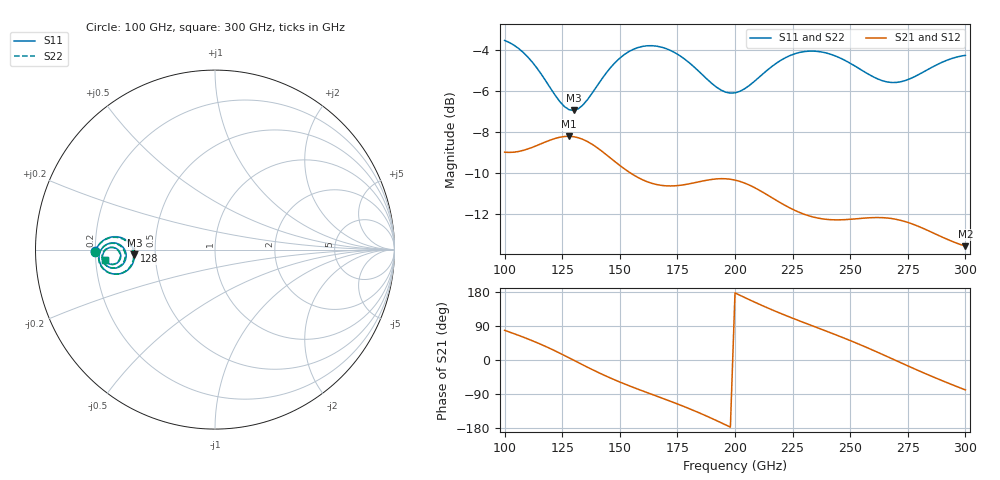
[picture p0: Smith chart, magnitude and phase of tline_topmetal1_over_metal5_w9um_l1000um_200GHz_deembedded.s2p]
! Created with skrf 2.2.0 (http://scikit-rf.org).
# GHz S DB R 50.0
! Port[1] = P1
! Port[2] = P2
!freq dBS11 angS11 dBS21 angS21 dBS12 angS12 dBS22 angS22
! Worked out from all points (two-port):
!   101 points, 100 GHz to 300 GHz, reference 50 ohm
!   highest |S21| = -8.21 dB at 128 GHz (marker M1); lowest = -13.6 dB at 300 GHz (marker M2)
!   |S21| within 3 dB of the highest: start of sweep to 215.9 GHz
!   lowest |S11| = -6.9 dB at 130 GHz (marker M3), VSWR 2.63, Z = 19 - j1.53 ohm
!   |S11| at or under -10 dB: nowhere
!   |S22| runs from -6.9 to -3.5 dB; largest |S21 - S12| = 2.4e-16
!   S11 on the Smith chart (normalised r, x): 100 GHz: 0.20, -0.01; 128 GHz: 0.38, -0.01; 300 GHz: 0.24, -0.04
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100  -3.51 -179.1  -8.99 78.4  -8.99 78.4  -3.49 -178.9
114  -4.86 172.8  -8.66 45.8  -8.66 45.8  -4.82 173.1
120  -5.87 173.3  -8.39 29.6  -8.39 29.6  -5.81 173.6
128  -6.91 -178.8  -8.21 5.7  -8.21 5.7  -6.82 -178.6
130  -6.94 -175.9  -8.23 -0.5  -8.23 -0.5  -6.86 -175.8
134  -6.67 -170.5  -8.36 -13.0  -8.36 -13.0  -6.59 -170.5
142  -5.43 -165.7  -8.92 -36.7  -8.92 -36.7  -5.38 -165.8
148  -4.59 -166.9  -9.46 -53.0  -9.46 -53.0  -4.55 -166.9
158  -3.86 -172.2  -10.24 -77.3  -10.24 -77.3  -3.82 -172.2
168  -3.84 -178.3  -10.62 -99.9  -10.62 -99.9  -3.80 -178.2
184  -4.99 176.2  -10.45 -138.3  -10.45 -138.3  -4.94 176.4
192  -5.80 178.6  -10.30 -160.0  -10.30 -160.0  -5.72 178.8
200  -6.08 -175.3  -10.36 177.0  -10.36 177.0  -5.99 -175.3
208  -5.56 -170.4  -10.70 154.2  -10.70 154.2  -5.48 -170.5
216  -4.79 -169.6  -11.22 132.6  -11.22 132.6  -4.73 -169.8
224  -4.25 -171.9  -11.73 112.7  -11.73 112.7  -4.20 -172.0
234  -4.03 -176.1  -12.17 89.2  -12.17 89.2  -4.00 -176.2
250  -4.63 178.9  -12.28 51.3  -12.28 51.3  -4.59 178.9
260  -5.29 179.8  -12.20 25.5  -12.20 25.5  -5.25 179.8
268  -5.57 -176.8  -12.24 3.7  -12.24 3.7  -5.52 -176.8
284  -4.92 -171.7  -12.84 -39.5  -12.84 -39.5  -4.88 -171.8
300  -4.24 -174.6  -13.60 -79.0  -13.60 -79.0  -4.21 -174.7
